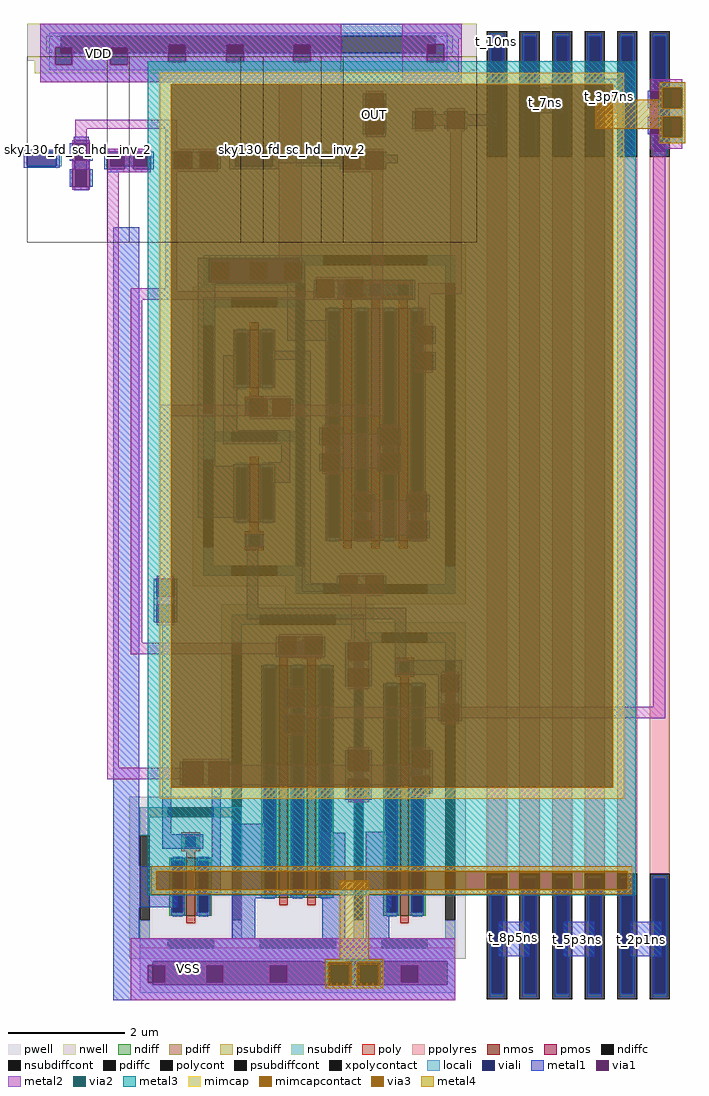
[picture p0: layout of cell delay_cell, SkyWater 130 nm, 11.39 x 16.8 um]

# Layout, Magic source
magic
tech sky130A
magscale 1 2
<< nwell >>
rect 1764 1494 3312 1620
rect 1790 1460 3312 1494
rect 1790 1450 3290 1460
<< nsubdiff >>
rect 1830 1520 1880 1580
rect 3170 1520 3230 1580
<< nsubdiffcont >>
rect 1880 1520 3170 1580
<< locali >>
rect 1840 1580 3210 1590
rect 1840 1520 1880 1580
rect 3170 1520 3210 1580
rect 1840 1460 3210 1520
rect 1865 1131 1884 1181
rect 2689 1131 2883 1181
rect 2372 810 2708 824
rect 2372 732 2390 810
rect 2700 732 2708 810
rect 2372 721 2708 732
rect 2635 -550 2647 -516
rect 2685 -550 2741 -516
rect 2152 -1606 3237 -1531
rect 2152 -1688 2196 -1606
rect 2780 -1610 2860 -1606
rect 3211 -1688 3237 -1606
rect 2152 -1715 3237 -1688
<< viali >>
rect 2940 1244 2993 1359
rect 1764 1131 1865 1181
rect 1930 1060 1970 1220
rect 2050 1131 2180 1171
rect 2280 1131 2320 1171
rect 2360 1131 2400 1171
rect 2480 1131 2610 1181
rect 2390 732 2700 810
rect 2647 -550 2685 -516
rect 2196 -1610 2780 -1606
rect 2860 -1610 3211 -1606
rect 2196 -1688 3211 -1610
<< metal1 >>
rect 1810 1570 3260 1620
rect 1810 1550 3250 1570
rect 1810 1540 2250 1550
rect 1810 1480 1860 1540
rect 1920 1480 2050 1540
rect 2110 1490 2250 1540
rect 2310 1490 2450 1550
rect 2510 1490 2680 1550
rect 2740 1490 3140 1550
rect 3200 1490 3250 1550
rect 3360 1540 3400 1580
rect 2110 1480 3250 1490
rect 1810 1440 3250 1480
rect 1810 1420 3260 1440
rect 3570 1400 3610 1432
rect 2920 1320 2930 1380
rect 2990 1359 3000 1380
rect 2920 1300 2940 1320
rect 2920 1240 2930 1300
rect 2993 1244 3000 1359
rect 3090 1260 3100 1320
rect 3160 1310 3170 1320
rect 3200 1310 3210 1320
rect 3160 1270 3210 1310
rect 3160 1260 3170 1270
rect 3200 1260 3210 1270
rect 3270 1310 3280 1320
rect 3504 1312 3610 1400
rect 3716 1312 3822 1432
rect 3900 1330 3910 1390
rect 3970 1330 3980 1390
rect 3270 1270 3380 1310
rect 3270 1260 3280 1270
rect 2990 1240 3000 1244
rect 3900 1240 3910 1300
rect 3970 1240 3980 1300
rect 2934 1232 2999 1240
rect 1924 1220 1976 1232
rect 1924 1210 1930 1220
rect 1970 1210 1976 1220
rect 1752 1181 1877 1187
rect 1752 1131 1764 1181
rect 1865 1131 1877 1181
rect 1910 1150 1920 1210
rect 1980 1150 1990 1210
rect 2040 1180 2190 1190
rect 2460 1181 2630 1200
rect 1752 1125 1877 1131
rect 1924 1120 1930 1150
rect 1970 1120 1976 1150
rect 2030 1120 2040 1180
rect 2100 1171 2130 1180
rect 2100 1120 2130 1131
rect 2190 1120 2200 1180
rect 2260 1121 2270 1181
rect 2330 1121 2360 1181
rect 2420 1121 2430 1181
rect 2460 1131 2480 1181
rect 2610 1170 2630 1181
rect 2840 1170 2850 1180
rect 2610 1140 2850 1170
rect 2610 1131 2630 1140
rect 2460 1120 2630 1131
rect 2840 1120 2850 1140
rect 2910 1120 2930 1180
rect 2990 1170 3000 1180
rect 2990 1140 3040 1170
rect 2990 1120 3000 1140
rect 1910 1060 1920 1120
rect 1980 1060 1990 1120
rect 2040 1110 2190 1120
rect 1924 1048 1976 1060
rect 2060 -1280 2150 920
rect 2351 810 2712 816
rect 2351 732 2390 810
rect 2700 800 2712 810
rect 2710 740 2720 800
rect 2700 732 2720 740
rect 2351 726 2720 732
rect 2351 100 2412 726
rect 2660 600 2720 726
rect 2750 680 2760 740
rect 2820 680 2860 740
rect 2920 680 3100 740
rect 2750 670 3100 680
rect 2660 530 2830 600
rect 3090 520 3100 580
rect 3160 520 3170 580
rect 2440 221 2487 479
rect 2595 465 2740 495
rect 2520 270 2530 330
rect 2590 270 2610 330
rect 2670 270 2680 330
rect 2440 174 2670 221
rect 2639 112 2670 174
rect 2351 -80 2500 100
rect 2595 83 2670 112
rect 2604 41 2670 83
rect 2200 -350 2210 -290
rect 2270 -350 2280 -290
rect 2200 -380 2280 -350
rect 2200 -440 2210 -380
rect 2270 -440 2280 -380
rect 2520 -390 2560 -150
rect 2710 -305 2740 465
rect 3090 430 3100 490
rect 3160 430 3170 490
rect 2770 170 2780 230
rect 2840 170 2850 230
rect 2970 170 2980 230
rect 3040 170 3050 230
rect 2770 80 2780 140
rect 2840 80 2850 140
rect 2970 80 2980 140
rect 3040 80 3050 140
rect 2880 -60 2890 0
rect 2950 -60 2960 0
rect 3070 -60 3080 0
rect 3140 -60 3150 0
rect 2880 -150 2890 -90
rect 2950 -150 2960 -90
rect 3070 -150 3080 -90
rect 3140 -150 3150 -90
rect 2830 -305 2840 -280
rect 2710 -335 2840 -305
rect 2830 -340 2840 -335
rect 2900 -340 2930 -280
rect 2990 -340 3000 -280
rect 2520 -430 3070 -390
rect 2230 -1170 2260 -440
rect 2620 -550 2630 -490
rect 2690 -550 2720 -490
rect 2780 -550 2790 -490
rect 2620 -560 2790 -550
rect 2860 -570 2870 -510
rect 2940 -570 2950 -510
rect 2860 -600 2950 -570
rect 2860 -660 2870 -600
rect 2940 -660 2950 -600
rect 3030 -570 3070 -430
rect 3030 -620 3260 -570
rect 2650 -730 2660 -670
rect 2720 -730 2730 -670
rect 2650 -820 2660 -760
rect 2720 -820 2730 -760
rect 2890 -880 2920 -660
rect 3180 -680 3190 -620
rect 3250 -680 3260 -620
rect 3180 -720 3260 -680
rect 3180 -780 3190 -720
rect 3250 -780 3260 -720
rect 2290 -1000 2300 -920
rect 2370 -1000 2390 -920
rect 2460 -1000 2470 -920
rect 2860 -950 2870 -880
rect 2940 -950 2950 -880
rect 3080 -940 3090 -880
rect 3150 -940 3160 -880
rect 2860 -980 2950 -950
rect 3090 -970 3160 -940
rect 2230 -1220 2370 -1170
rect 2400 -1250 2430 -1000
rect 2860 -1050 2870 -980
rect 2940 -1050 2950 -980
rect 3080 -1030 3090 -970
rect 3150 -1030 3160 -970
rect 2060 -1420 2280 -1280
rect 2360 -1320 2430 -1250
rect 2370 -1370 2430 -1320
rect 2470 -1160 2589 -1134
rect 2470 -1340 2610 -1160
rect 2470 -1388 2600 -1340
rect 2470 -1390 2616 -1388
rect 2060 -1527 2150 -1420
rect 2470 -1527 2550 -1390
rect 2780 -1527 2860 -1164
rect 2930 -1420 3020 -1160
rect 2930 -1527 3010 -1420
rect 2060 -1606 3237 -1527
rect 3388 -1590 3494 -1470
rect 3612 -1590 3718 -1470
rect 3842 -1590 3948 -1470
rect 2060 -1620 2196 -1606
rect 2780 -1610 2860 -1606
rect 2060 -1680 2180 -1620
rect 2060 -1688 2196 -1680
rect 3211 -1688 3237 -1606
rect 2060 -1740 3237 -1688
<< via1 >>
rect 1860 1480 1920 1540
rect 2050 1480 2110 1540
rect 2250 1490 2310 1550
rect 2450 1490 2510 1550
rect 2680 1490 2740 1550
rect 3140 1490 3200 1550
rect 2930 1359 2990 1380
rect 2930 1320 2940 1359
rect 2940 1320 2990 1359
rect 2930 1244 2940 1300
rect 2940 1244 2990 1300
rect 3100 1260 3160 1320
rect 3210 1260 3270 1320
rect 3910 1330 3970 1390
rect 2930 1240 2990 1244
rect 3910 1240 3970 1300
rect 1920 1150 1930 1210
rect 1930 1150 1970 1210
rect 1970 1150 1980 1210
rect 2040 1171 2100 1180
rect 2130 1171 2190 1180
rect 2040 1131 2050 1171
rect 2050 1131 2100 1171
rect 2130 1131 2180 1171
rect 2180 1131 2190 1171
rect 2040 1120 2100 1131
rect 2130 1120 2190 1131
rect 2270 1171 2330 1181
rect 2270 1131 2280 1171
rect 2280 1131 2320 1171
rect 2320 1131 2330 1171
rect 2270 1121 2330 1131
rect 2360 1171 2420 1181
rect 2360 1131 2400 1171
rect 2400 1131 2420 1171
rect 2360 1121 2420 1131
rect 2850 1120 2910 1180
rect 2930 1120 2990 1180
rect 1920 1060 1930 1120
rect 1930 1060 1970 1120
rect 1970 1060 1980 1120
rect 2400 740 2460 800
rect 2530 740 2590 800
rect 2650 740 2700 800
rect 2700 740 2710 800
rect 2760 680 2820 740
rect 2860 680 2920 740
rect 3100 520 3160 580
rect 2530 270 2590 330
rect 2610 270 2670 330
rect 2210 -350 2270 -290
rect 2210 -440 2270 -380
rect 3100 430 3160 490
rect 2780 170 2840 230
rect 2980 170 3040 230
rect 2780 80 2840 140
rect 2980 80 3040 140
rect 2890 -60 2950 0
rect 3080 -60 3140 0
rect 2890 -150 2950 -90
rect 3080 -150 3140 -90
rect 2840 -340 2900 -280
rect 2930 -340 2990 -280
rect 2630 -516 2690 -490
rect 2630 -550 2647 -516
rect 2647 -550 2685 -516
rect 2685 -550 2690 -516
rect 2720 -550 2780 -490
rect 2870 -570 2940 -510
rect 2870 -660 2940 -600
rect 2660 -730 2720 -670
rect 2660 -820 2720 -760
rect 3190 -680 3250 -620
rect 3190 -780 3250 -720
rect 2300 -1000 2370 -920
rect 2390 -1000 2460 -920
rect 2870 -950 2940 -880
rect 3090 -940 3150 -880
rect 2870 -1050 2940 -980
rect 3090 -1030 3150 -970
rect 2180 -1680 2196 -1620
rect 2196 -1680 2240 -1620
rect 2380 -1680 2440 -1620
rect 2600 -1680 2660 -1620
rect 2810 -1680 2870 -1620
rect 3050 -1680 3110 -1620
<< metal2 >>
rect 1810 1550 2846 1620
rect 1810 1540 2250 1550
rect 1810 1480 1860 1540
rect 1920 1480 2050 1540
rect 2110 1490 2250 1540
rect 2310 1490 2450 1550
rect 2510 1490 2680 1550
rect 2740 1490 2846 1550
rect 2110 1480 2846 1490
rect 1810 1420 2846 1480
rect 3056 1550 3260 1620
rect 3056 1490 3140 1550
rect 3200 1490 3260 1550
rect 3056 1420 3260 1490
rect 1930 1260 2280 1290
rect 1930 1220 1970 1260
rect 1920 1210 1980 1220
rect 2240 1191 2280 1260
rect 1920 1120 1980 1150
rect 1920 1050 1980 1060
rect 2040 1180 2190 1190
rect 2100 1120 2130 1180
rect 2040 1110 2190 1120
rect 2240 1181 2420 1191
rect 2240 1121 2270 1181
rect 2330 1121 2360 1181
rect 2240 1111 2420 1121
rect 2040 -940 2080 1110
rect 2240 710 2280 1111
rect 2630 810 2710 1420
rect 3910 1400 4020 1430
rect 3910 1390 3950 1400
rect 2930 1380 2990 1390
rect 2930 1300 2990 1320
rect 3100 1320 3160 1330
rect 3210 1320 3270 1330
rect 3160 1270 3210 1310
rect 3100 1250 3160 1260
rect 3210 1250 3270 1260
rect 3910 1300 4020 1330
rect 2930 1230 2990 1240
rect 2850 1180 2990 1190
rect 2910 1120 2930 1180
rect 2850 1110 2990 1120
rect 2400 800 2710 810
rect 2460 740 2530 800
rect 2590 740 2650 800
rect 2400 730 2710 740
rect 2760 740 2920 750
rect 2120 700 2280 710
rect 2120 680 2760 700
rect 2820 680 2860 740
rect 2120 670 2920 680
rect 2120 -510 2160 670
rect 2530 330 2670 340
rect 2220 270 2530 310
rect 2590 270 2610 330
rect 2950 310 2990 1110
rect 3220 730 3260 1250
rect 3910 1230 3950 1240
rect 3910 1190 4020 1230
rect 3110 690 3260 730
rect 3110 590 3150 690
rect 3100 580 3160 590
rect 3100 490 3160 520
rect 3100 420 3160 430
rect 2670 270 2990 310
rect 2220 -280 2260 270
rect 2530 260 2670 270
rect 2780 230 2840 240
rect 2980 230 3040 240
rect 2840 170 2980 210
rect 2780 140 3040 170
rect 2840 90 2980 140
rect 2780 70 2840 80
rect 2980 70 3040 80
rect 2890 0 2950 10
rect 3080 0 3140 10
rect 2950 -60 3080 -20
rect 2890 -90 3140 -60
rect 2950 -140 3080 -90
rect 2890 -160 2950 -150
rect 3080 -160 3140 -150
rect 2840 -280 2990 -270
rect 2210 -290 2270 -280
rect 2900 -340 2930 -280
rect 2840 -350 2990 -340
rect 2210 -380 2270 -350
rect 2210 -450 2270 -440
rect 2630 -490 2780 -480
rect 2120 -550 2630 -510
rect 2690 -550 2720 -490
rect 2880 -500 2930 -350
rect 2630 -560 2780 -550
rect 2870 -510 2940 -500
rect 2870 -600 2940 -570
rect 2660 -670 2720 -660
rect 2870 -670 2940 -660
rect 3190 -620 3250 -610
rect 3190 -720 3250 -680
rect 2660 -760 3190 -730
rect 2720 -770 3190 -760
rect 3920 -730 3960 1190
rect 3250 -770 3960 -730
rect 3190 -790 3250 -780
rect 2660 -830 2720 -820
rect 2870 -880 2940 -870
rect 2300 -920 2460 -910
rect 2040 -980 2300 -940
rect 2370 -1000 2390 -920
rect 2460 -950 2870 -930
rect 3090 -880 3150 -870
rect 2940 -940 3090 -930
rect 2940 -950 3150 -940
rect 2460 -970 3150 -950
rect 2460 -980 3090 -970
rect 2460 -1000 2870 -980
rect 2300 -1010 2460 -1000
rect 2940 -1000 3090 -980
rect 3090 -1040 3150 -1030
rect 2870 -1060 2940 -1050
rect 2120 -1620 3237 -1527
rect 2120 -1680 2180 -1620
rect 2240 -1680 2380 -1620
rect 2440 -1680 2600 -1620
rect 2660 -1680 2810 -1620
rect 2870 -1680 2910 -1620
rect 2970 -1680 3050 -1620
rect 3110 -1680 3237 -1620
rect 2120 -1740 3237 -1680
<< via2 >>
rect 3950 1390 4020 1400
rect 3950 1330 3970 1390
rect 3970 1330 4020 1390
rect 3950 1240 3970 1300
rect 3970 1240 4020 1300
rect 3950 1230 4020 1240
rect 2810 -1680 2870 -1620
rect 2910 -1680 2970 -1620
<< metal3 >>
rect 3940 1400 4030 1420
rect 3940 1330 3950 1400
rect 4020 1330 4030 1400
rect 3940 1300 4030 1330
rect 3940 1230 3950 1300
rect 4020 1230 4030 1300
rect 3940 1210 4030 1230
rect 2790 -1610 2990 -1600
rect 2790 -1690 2800 -1610
rect 2880 -1690 2900 -1610
rect 2980 -1690 2990 -1610
<< via3 >>
rect 3950 1330 4020 1400
rect 3950 1230 4020 1300
rect 2800 -1620 2880 -1610
rect 2800 -1680 2810 -1620
rect 2810 -1680 2870 -1620
rect 2870 -1680 2880 -1620
rect 2800 -1690 2880 -1680
rect 2900 -1620 2980 -1610
rect 2900 -1680 2910 -1620
rect 2910 -1680 2970 -1620
rect 2970 -1680 2980 -1620
rect 2900 -1690 2980 -1680
<< metal4 >>
rect 3940 1400 4030 1420
rect 3940 1360 3950 1400
rect 3720 1330 3950 1360
rect 4020 1330 4030 1400
rect 3720 1300 4030 1330
rect 3720 1260 3950 1300
rect 3940 1230 3950 1260
rect 4020 1230 4030 1300
rect 3940 1210 4030 1230
rect 2840 -1600 2940 -1330
rect 2790 -1610 2990 -1600
rect 2790 -1690 2800 -1610
rect 2880 -1690 2900 -1610
rect 2980 -1690 2990 -1610
rect 2790 -1700 2990 -1690
use sky130_fd_pr__pfet_01v8_LG57AL  sky130_fd_pr__pfet_01v8_LG57AL_0
transform -1 0 2546 0 1 431
box -211 -284 211 284
use sky130_fd_pr__pfet_01v8_LG57AL  sky130_fd_pr__pfet_01v8_LG57AL_1
transform -1 0 2546 0 1 -31
box -211 -284 211 284
use sky130_fd_pr__res_high_po_0p35_GKNPGE  sky130_fd_pr__res_high_po_0p35_GKNPGE_0
transform 1 0 3942 0 1 -71
box -35 -1666 35 1666
use sky130_fd_sc_hd__inv_2  x1 $PDKPATH/libs.ref/sky130_fd_sc_hd/mag
transform 1 0 1802 0 1 916
box -38 -48 314 592
use sky130_fd_sc_hd__nor2_2  x2 $PDKPATH/libs.ref/sky130_fd_sc_hd/mag
transform 1 0 2078 0 1 916
box -38 -48 498 592
use sky130_fd_sc_hd__inv_2  x3
transform 1 0 2538 0 1 916
box -38 -48 314 592
use sky130_fd_sc_hd__inv_4  x4 $PDKPATH/libs.ref/sky130_fd_sc_hd/mag
transform 1 0 2814 0 1 916
box -38 -48 498 592
use sky130_fd_pr__cap_mim_m3_1_U4WBBP  XC2
transform 0 1 3020 -1 0 56
box -1436 -840 1436 840
use sky130_fd_pr__nfet_01v8_6ENSLP  XM1
transform 1 0 2695 0 1 -988
box -263 -610 263 610
use sky130_fd_pr__pfet_01v8_XGJYDL  XM2
transform 1 0 2963 0 1 241
box -311 -619 311 619
use sky130_fd_pr__nfet_01v8_J4Y94J  XM4
transform 1 0 3063 0 1 -1019
box -211 -579 211 579
use sky130_fd_pr__nfet_01v8_8XY3SE  XM6
transform -1 0 2327 0 1 -1319
box -211 -279 211 279
use sky130_fd_pr__res_high_po_0p35_GKNPGE  XR1
transform 1 0 3382 0 1 -71
box -35 -1666 35 1666
use sky130_fd_pr__res_high_po_0p35_GKNPGE  XR2
transform 1 0 3494 0 1 -71
box -35 -1666 35 1666
use sky130_fd_pr__res_high_po_0p35_GKNPGE  XR3
transform 1 0 3606 0 1 -71
box -35 -1666 35 1666
use sky130_fd_pr__res_high_po_0p35_GKNPGE  XR4
transform 1 0 3718 0 1 -71
box -35 -1666 35 1666
use sky130_fd_pr__res_high_po_0p35_GKNPGE  XR5
transform 1 0 3830 0 1 -71
box -35 -1666 35 1666
<< labels >>
rlabel metal1 3360 1540 3400 1580 1 t_10ns
port 1 n
rlabel metal1 3410 -1550 3470 -1500 1 t_8p5ns
port 2 n
rlabel metal1 3520 1330 3580 1370 1 t_7ns
port 3 n
rlabel metal1 3630 -1550 3690 -1510 1 t_5p3ns
port 4 n
rlabel metal1 3740 1350 3800 1390 1 t_3p7ns
port 5 n
rlabel metal1 3850 -1550 3910 -1510 1 t_2p1ns
port 6 n
flabel metal2 2220 -1730 2420 -1530 0 FreeSans 1280 0 0 0 VSS
port 9 nsew
flabel metal1 1910 1420 2110 1620 0 FreeSans 1280 0 0 0 VDD
port 0 nsew
rlabel metal1 1764 1131 1819 1181 1 IN
port 8 n
rlabel metal2 2930 1280 2990 1340 1 OUT
port 7 n
<< end >>

# cell sky130_fd_pr__pfet_01v8_LG57AL: kit device sky130_fd_pr__pfet_01v8, w 1.0 l 0.15 m 1 nf 1 diffcov 100 polycov 100 guard 1 glc 0 grc 1 gtc 1 gbc 1 tbcov 100 rlcov 100 topc 0 botc 1 poverlap 0 doverlap 1 lmin 0.15 wmin 0.42 compatible {sky130_fd_pr__pfet_01v8 sky130_fd_pr__pfet_01v8_lvt sky130_fd_pr__pfet_01v8_hvt sky130_fd_pr__pfet_g5v0d10v5} full_metal 1 viasrc 100 viadrn 100 viagate 100 viagb 0 viagr 0 viagl 0 viagt 0

# cell sky130_fd_pr__res_high_po_0p35_GKNPGE: kit device sky130_fd_pr__res_high_po_0p35, w 0.350 l 12.5 m 1 nx 1 wmin 0.350 lmin 0.50 rho 319.8 val 12.534k dummy 0 dw 0.0 term 194.82 sterm 0.0 caplen 0 guard 0 glc 0 grc 0 gtc 0 gbc 0 compatible {sky130_fd_pr__res_high_po_0p35 sky130_fd_pr__res_high_po_0p69 sky130_fd_pr__res_high_po_1p41 sky130_fd_pr__res_high_po_2p85 sky130_fd_pr__res_high_po_5p73} snake 0 full_metal 0 wmax 0.350 vias 1 n_guard 0 hv_guard 0 viagb 0 viagt 0 viagl 0 viagr 0

# cell sky130_fd_pr__cap_mim_m3_1_U4WBBP: kit device sky130_fd_pr__cap_mim_m3_1, w 12.5 l 8 val 207.79 carea 2.00 cperi 0.19 nx 1 ny 1 dummy 0 square 0 lmin 2.00 wmin 2.00 lmax 30.0 wmax 30.0 dc 0 bconnect 1 tconnect 1 ccov 100

# cell sky130_fd_pr__nfet_01v8_6ENSLP: kit device sky130_fd_pr__nfet_01v8, w 4.0 l 0.15 m 1 nf 2 diffcov 100 polycov 100 guard 1 glc 1 grc 1 gtc 1 gbc 1 tbcov 100 rlcov 100 topc 1 botc 0 poverlap 0 doverlap 1 lmin 0.15 wmin 0.42 compatible {sky130_fd_pr__nfet_01v8 sky130_fd_pr__nfet_01v8_lvt sky130_fd_bs_flash__special_sonosfet_star sky130_fd_pr__nfet_g5v0d10v5 sky130_fd_pr__nfet_05v0_nvt sky130_fd_pr__nfet_03v3_nvt} full_metal 1 viasrc 100 viadrn 100 viagate 100 viagb 0 viagr 0 viagl 0 viagt 0

# cell sky130_fd_pr__pfet_01v8_XGJYDL: kit device sky130_fd_pr__pfet_01v8, w 4.0 l 0.15 m 1 nf 3 diffcov 100 polycov 100 guard 1 glc 1 grc 1 gtc 1 gbc 1 tbcov 100 rlcov 100 topc 1 botc 1 poverlap 0 doverlap 1 lmin 0.15 wmin 0.42 compatible {sky130_fd_pr__pfet_01v8 sky130_fd_pr__pfet_01v8_lvt sky130_fd_pr__pfet_01v8_hvt sky130_fd_pr__pfet_g5v0d10v5} full_metal 1 viasrc 100 viadrn 100 viagate 100 viagb 0 viagr 0 viagl 0 viagt 0

# cell sky130_fd_pr__nfet_01v8_J4Y94J: kit device sky130_fd_pr__nfet_01v8, w 4.0 l 0.15 m 1 nf 1 diffcov 100 polycov 100 guard 1 glc 0 grc 1 gtc 1 gbc 1 tbcov 100 rlcov 100 topc 1 botc 0 poverlap 0 doverlap 1 lmin 0.15 wmin 0.42 compatible {sky130_fd_pr__nfet_01v8 sky130_fd_pr__nfet_01v8_lvt sky130_fd_bs_flash__special_sonosfet_star sky130_fd_pr__nfet_g5v0d10v5 sky130_fd_pr__nfet_05v0_nvt sky130_fd_pr__nfet_03v3_nvt} full_metal 1 viasrc 100 viadrn 100 viagate 100 viagb 0 viagr 0 viagl 0 viagt 0

# cell sky130_fd_pr__nfet_01v8_8XY3SE: kit device sky130_fd_pr__nfet_01v8, w 1.0 l 0.15 m 1 nf 1 diffcov 100 polycov 100 guard 1 glc 0 grc 1 gtc 1 gbc 1 tbcov 100 rlcov 100 topc 1 botc 0 poverlap 0 doverlap 1 lmin 0.15 wmin 0.42 compatible {sky130_fd_pr__nfet_01v8 sky130_fd_pr__nfet_01v8_lvt sky130_fd_bs_flash__special_sonosfet_star sky130_fd_pr__nfet_g5v0d10v5 sky130_fd_pr__nfet_05v0_nvt sky130_fd_pr__nfet_03v3_nvt} full_metal 1 viasrc 100 viadrn 100 viagate 100 viagb 0 viagr 0 viagl 0 viagt 0
